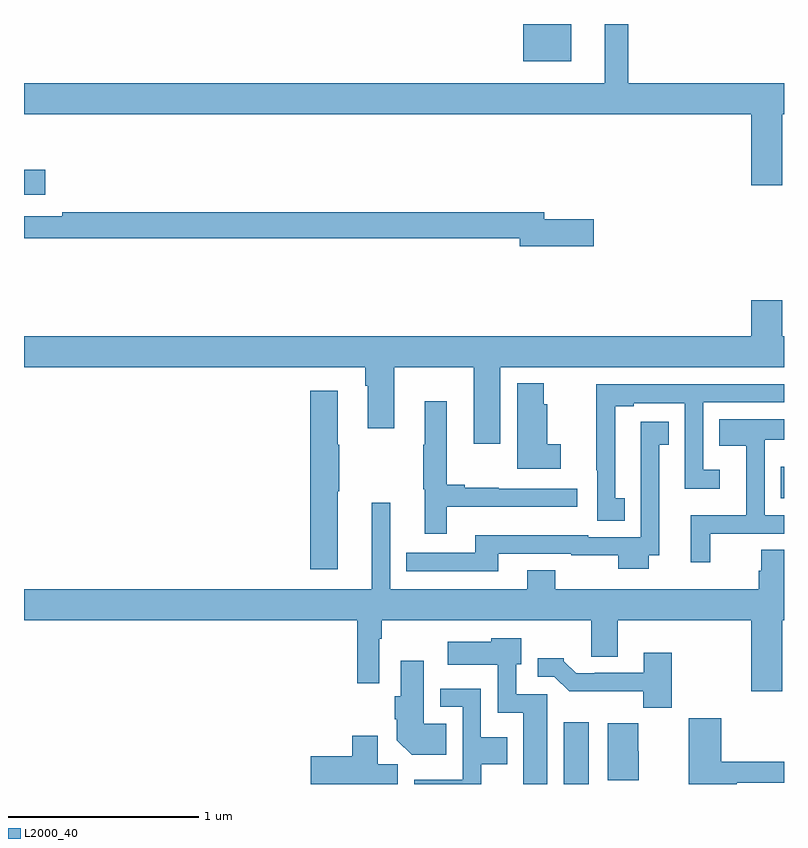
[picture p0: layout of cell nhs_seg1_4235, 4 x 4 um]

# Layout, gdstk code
import gdstk
lib = gdstk.Library(unit=1e-6, precision=1e-09)
def R(c, l, rs):  # rectangles x0, y0, x1, y1
    for r in rs: c.add(gdstk.rectangle(r[:2], r[2:], *l))
def P(c, l, *ps):  # polygons
    for p in ps: c.add(gdstk.Polygon(p, *l))
L2000_40 = (2000, 40)

nhs_seg1_4235 = lib.new_cell('nhs_seg1_4235')
R(nhs_seg1_4235, L2000_40, [(343.841,556.199,343.972,556.525), (344.983,557.703,345,557.869), (341,559.301,341.113,559.431), (343.628,560.003,343.879,560.199)])
P(nhs_seg1_4235, L2000_40, [(344.992,559.724),(345,559.724),(345,559.888),(344.179,559.888),(344.179,560.199),(344.057,560.199),(344.057,559.888),(341,559.888),(341,559.724),(344.828,559.724),(344.828,559.35),(344.992,559.35)],
  [(343.999,559.172),(343.738,559.172),(343.738,559.208),(341.2,559.208),(341.2,559.188),(341,559.188),(341,559.072),(343.61,559.072),(343.61,559.03),(343.999,559.03)],
  [(341,558.392),(342.797,558.392),(342.797,558.296),(342.809,558.296),(342.809,558.072),(342.949,558.072),(342.949,558.392),(343.367,558.392),(343.367,557.991),(343.507,557.991),(343.507,558.392),(345,558.392),(345,558.556),(344.992,558.556),(344.992,558.745),(344.828,558.745),(344.828,558.556),(341,558.556)],
  [(343.825,557.988),(343.753,557.988),(343.753,558.198),(343.735,558.198),(343.735,558.307),(343.595,558.307),(343.595,557.858),(343.825,557.858)],
  [(344.162,557.703),(344.113,557.703),(344.113,558.186),(344.209,558.186),(344.209,558.203),(344.478,558.203),(344.478,557.753),(344.662,557.753),(344.662,557.854),(344.574,557.854),(344.574,558.207),(345,558.207),(345,558.303),(344.471,558.303),(344.471,558.304),(344.011,558.304),(344.011,557.851),(344.016,557.851),(344.016,557.584),(344.162,557.584)],
  [(342.652,557.74),(342.66,557.74),(342.66,557.984),(342.652,557.984),(342.652,558.268),(342.506,558.268),(342.506,557.328),(342.652,557.328)],
  [(343.225,557.657),(343.912,557.657),(343.912,557.754),(343.499,557.754),(343.499,557.757),(343.321,557.757),(343.321,557.774),(343.225,557.774),(343.225,558.214),(343.109,558.214),(343.109,557.984),(343.102,557.984),(343.102,557.751),(343.109,557.751),(343.109,557.517),(343.225,557.517)],
  [(344.612,557.517),(345,557.517),(345,557.613),(344.898,557.613),(344.898,558.011),(345,558.011),(345,558.118),(344.659,558.118),(344.659,557.978),(344.801,557.978),(344.801,557.614),(344.51,557.614),(344.51,557.367),(344.612,557.367)],
  [(343.495,557.412),(343.881,557.412),(343.881,557.402),(344.128,557.402),(344.128,557.333),(344.287,557.333),(344.287,557.403),(344.344,557.403),(344.344,557.985),(344.393,557.985),(344.393,558.106),(344.246,558.106),(344.246,557.782),(344.247,557.782),(344.247,557.499),(343.971,557.499),(343.971,557.509),(343.376,557.509),(343.376,557.415),(343.012,557.415),(343.012,557.319),(343.495,557.319)],
  [(344.992,557.06),(345,557.06),(345,557.432),(344.879,557.432),(344.879,557.322),(344.867,557.322),(344.867,557.224),(343.797,557.224),(343.797,557.323),(343.649,557.323),(343.649,557.224),(342.927,557.224),(342.927,557.68),(342.83,557.68),(342.83,557.224),(341,557.224),(341,557.06),(342.754,557.06),(342.754,556.728),(342.87,556.728),(342.87,556.964),(342.883,556.964),(342.883,557.06),(343.985,557.06),(343.985,556.87),(344.125,556.87),(344.125,557.06),(344.828,557.06),(344.828,556.686),(344.992,556.686)],
  [(343.753,556.671),(343.59,556.671),(343.59,556.83),(343.618,556.83),(343.618,556.966),(343.458,556.966),(343.458,556.948),(343.23,556.948),(343.23,556.826),(343.494,556.826),(343.494,556.574),(343.628,556.574),(343.628,556.199),(343.753,556.199)],
  [(344.409,556.891),(344.261,556.891),(344.261,556.785),(344.005,556.785),(344.005,556.782),(343.906,556.782),(343.842,556.846),(343.842,556.861),(343.703,556.861),(343.703,556.764),(343.791,556.764),(343.87,556.686),(344.259,556.686),(344.259,556.601),(344.409,556.601)],
  [(343.223,556.516),(343.105,556.516),(343.105,556.849),(342.983,556.849),(342.983,556.662),(342.95,556.662),(342.95,556.54),(342.962,556.54),(342.962,556.43),(343.04,556.352),(343.223,556.352)],
  [(343.407,556.304),(343.543,556.304),(343.543,556.444),(343.404,556.444),(343.404,556.701),(343.191,556.701),(343.191,556.605),(343.308,556.605),(343.308,556.222),(343.055,556.222),(343.055,556.199),(343.407,556.199)],
  [(344.752,556.206),(345,556.206),(345,556.315),(344.669,556.315),(344.669,556.546),(344.498,556.546),(344.498,556.199),(344.752,556.199)],
  [(344.236,556.371),(344.234,556.371),(344.234,556.519),(344.072,556.519),(344.072,556.218),(344.236,556.218)],
  [(342.967,556.304),(342.862,556.304),(342.862,556.453),(342.728,556.453),(342.728,556.346),(342.51,556.346),(342.51,556.199),(342.967,556.199)])

lib.write_gds('nhs_seg1_4235.gds')
